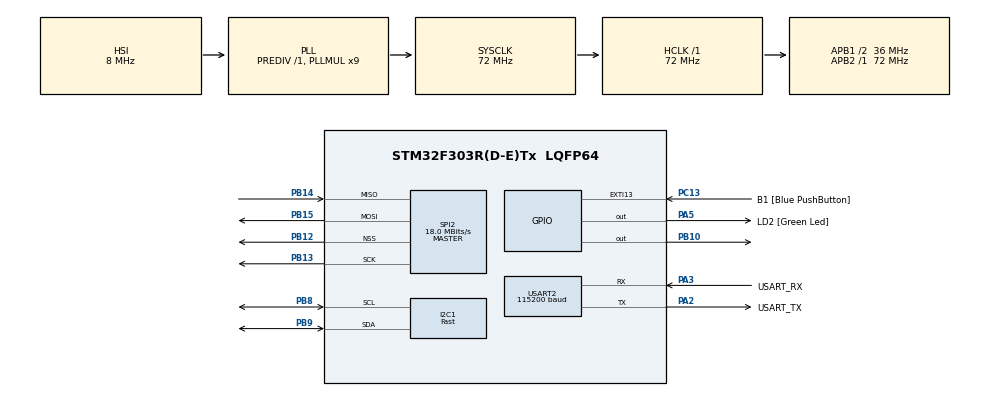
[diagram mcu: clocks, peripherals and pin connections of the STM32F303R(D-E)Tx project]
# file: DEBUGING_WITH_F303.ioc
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Dma.Request0=USART2_RX
Dma.Request1=USART2_TX
Dma.USART2_RX.0.Direction=DMA_PERIPH_TO_MEMORY
Dma.USART2_RX.0.Instance=DMA1_Channel6
Dma.USART2_RX.0.MemDataAlignment=DMA_MDATAALIGN_BYTE
Dma.USART2_RX.0.MemInc=DMA_MINC_ENABLE
Dma.USART2_RX.0.Mode=DMA_NORMAL
Dma.USART2_RX.0.PeriphDataAlignment=DMA_PDATAALIGN_BYTE
Dma.USART2_RX.0.PeriphInc=DMA_PINC_DISABLE
Dma.USART2_RX.0.Priority=DMA_PRIORITY_LOW
Dma.USART2_TX.1.Direction=DMA_MEMORY_TO_PERIPH
Dma.USART2_TX.1.Instance=DMA1_Channel7
Dma.USART2_TX.1.MemDataAlignment=DMA_MDATAALIGN_BYTE
Dma.USART2_TX.1.MemInc=DMA_MINC_ENABLE
Dma.USART2_TX.1.Mode=DMA_NORMAL
Dma.USART2_TX.1.PeriphDataAlignment=DMA_PDATAALIGN_BYTE
Dma.USART2_TX.1.PeriphInc=DMA_PINC_DISABLE
Dma.USART2_TX.1.Priority=DMA_PRIORITY_MEDIUM
I2C1.I2C_Speed_Mode=I2C_Fast
I2C1.Timing=0x0010020A
Mcu.Family=STM32F3
Mcu.Name=STM32F303R(D-E)Tx
Mcu.Package=LQFP64
NVIC.DMA1_Channel6_IRQn=true\:0\:0\:false\:false\:true\:false\:true\:true
NVIC.DMA1_Channel7_IRQn=true\:0\:0\:false\:false\:true\:false\:true\:true
NVIC.PriorityGroup=NVIC_PRIORITYGROUP_0
NVIC.USART2_IRQn=true\:0\:0\:false\:false\:true\:true\:true\:true
PA13.GPIO_Label=TMS
PA13.Mode=Serial_Wire
PA13.Signal=SYS_JTMS-SWDIO
PA14.GPIO_Label=TCK
PA14.Mode=Serial_Wire
PA14.Signal=SYS_JTCK-SWCLK
PA2.GPIO_Label=USART_TX
PA2.GPIO_Mode=GPIO_MODE_AF_PP
PA2.GPIO_PuPd=GPIO_NOPULL
PA2.GPIO_Speed=GPIO_SPEED_FREQ_LOW
PA2.Mode=Asynchronous
PA2.Signal=USART2_TX
PA3.GPIO_Label=USART_RX
PA3.GPIO_Mode=GPIO_MODE_AF_PP
PA3.GPIO_PuPd=GPIO_NOPULL
PA3.GPIO_Speed=GPIO_SPEED_FREQ_LOW
PA3.Mode=Asynchronous
PA3.Signal=USART2_RX
PA5.GPIO_Label=LD2 [Green Led]
PA5.GPIO_Mode=GPIO_MODE_OUTPUT_PP
PA5.GPIO_PuPd=GPIO_NOPULL
PA5.GPIO_Speed=GPIO_SPEED_FREQ_LOW
PA5.Signal=GPIO_Output
PB10.Signal=GPIO_Output
PB12.Mode=NSS_Signal_Hard_Output
PB12.Signal=SPI2_NSS
PB13.Mode=Full_Duplex_Master
PB13.Signal=SPI2_SCK
PB14.Mode=Full_Duplex_Master
PB14.Signal=SPI2_MISO
PB15.Mode=Full_Duplex_Master
PB15.Signal=SPI2_MOSI
PB3.Signal=SYS_JTDO-TRACESWO
PB8.Mode=I2C
PB8.Signal=I2C1_SCL
PB9.Mode=I2C
PB9.Signal=I2C1_SDA
PC13.GPIO_Label=B1 [Blue PushButton]
PC13.GPIO_ModeDefaultEXTI=GPIO_MODE_IT_FALLING
PC13.Signal=GPXTI13
PC14-OSC32_IN.Mode=LSE-External-Oscillator
PC14-OSC32_IN.Signal=RCC_OSC32_IN
PC15-OSC32_OUT.Mode=LSE-External-Oscillator
PC15-OSC32_OUT.Signal=RCC_OSC32_OUT
PF0-OSC_IN.Mode=HSE-External-Clock-Source
PF0-OSC_IN.Signal=RCC_OSC_IN
PF1-OSC_OUT.Signal=RCC_OSC_OUT
ProjectManager.HeapSize=0x200
ProjectManager.StackSize=0x400
ProjectManager.TargetToolchain=CMake
RCC.AHBFreq_Value=72000000
RCC.APB1CLKDivider=RCC_HCLK_DIV2
RCC.APB1Freq_Value=36000000
RCC.APB1TimFreq_Value=72000000
RCC.APB2Freq_Value=72000000
RCC.APB2TimFreq_Value=72000000
RCC.CortexFreq_Value=72000000
RCC.HCLKFreq_Value=72000000
RCC.HSE_VALUE=8000000
RCC.HSI_VALUE=8000000
RCC.PLLM=8
RCC.PLLMUL=RCC_PLL_MUL9
RCC.PLLN=336
RCC.PLLP=RCC_PLLP_DIV4
RCC.PLLQ=7
RCC.RCC_PLLsource_Clock_Source_FROM_HSE=RCC_HSE_PREDIV_DIV2
RCC.SYSCLKFreq_VALUE=72000000
RCC.SYSCLKSourceVirtual=RCC_SYSCLKSOURCE_PLLCLK
RCC.USBFreq_Value=72000000
SPI2.CalculateBaudRate=18.0 MBits/s
SPI2.Direction=SPI_DIRECTION_2LINES
SPI2.Mode=SPI_MODE_MASTER
SPI2.VirtualNSS=VM_NSSHARD
SPI2.VirtualType=VM_MASTER
USART2.BaudRate=115200
USART2.VirtualMode-Asynchronous=VM_ASYNC
VP_CRC_VS_CRC.Mode=CRC_Activate
board=NUCLEO-F303RE

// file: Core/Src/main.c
/* USER CODE BEGIN Header */
/**
 ******************************************************************************
 * @file           : main.c
 * @brief          : Main program body
 ******************************************************************************
 * @attention
 *
 * Copyright (c) 2024 STMicroelectronics.
 * All rights reserved.
 *
 * This software is licensed under terms that can be found in the LICENSE file
 * in the root directory of this software component.
 * If no LICENSE file comes with this software, it is provided AS-IS.
 *
 ******************************************************************************
 */
/* USER CODE END Header */
#include "main.h"
#include "crc.h"
#include "dma.h"
#include "i2c.h"
#include "spi.h"
#include "usart.h"
#include "gpio.h"

/* USER CODE BEGIN Includes */
#include "cli.h"
#include "aht20.h"
/* USER CODE END Includes */

/* USER CODE BEGIN PV */

float temp = 0;
float humidity = 0;

/* USER CODE END PV */

void SystemClock_Config(void);

int main(void)
{

  /* USER CODE BEGIN 1 */

#ifndef USE_PRECALCULATED_HASH

    populate_cmd_hash();

#endif
  /* USER CODE END 1 */

  /* MCU Configuration--------------------------------------------------------*/

  /* Reset of all peripherals, Initializes the Flash interface and the Systick. */
  HAL_Init();

  /* Configure the system clock */
  SystemClock_Config();

  /* Initialize all configured peripherals */
  MX_GPIO_Init();
  MX_DMA_Init();
  MX_USART2_UART_Init();
  MX_I2C1_Init();
  MX_CRC_Init();
  MX_SPI2_Init();
  /* USER CODE BEGIN 2 */

    start_rx();

    AHT20_Init();
    HAL_Delay(150);
    AHT20_StartMeasurement();
    HAL_Delay(150);
    AHT20_ParseData(&temp,&humidity);

  /* USER CODE END 2 */

  /* Infinite loop */
    while (1)
    {

    }
}

void SystemClock_Config(void)
{
  RCC_OscInitTypeDef RCC_OscInitStruct = {0};
  RCC_ClkInitTypeDef RCC_ClkInitStruct = {0};
  RCC_PeriphCLKInitTypeDef PeriphClkInit = {0};

  /** Initializes the RCC Oscillators according to the specified parameters
  * in the RCC_OscInitTypeDef structure.
  */
  RCC_OscInitStruct.OscillatorType = RCC_OSCILLATORTYPE_HSI;
  RCC_OscInitStruct.HSIState = RCC_HSI_ON;
  RCC_OscInitStruct.HSICalibrationValue = RCC_HSICALIBRATION_DEFAULT;
  RCC_OscInitStruct.PLL.PLLState = RCC_PLL_ON;
  RCC_OscInitStruct.PLL.PLLSource = RCC_PLLSOURCE_HSI;
  RCC_OscInitStruct.PLL.PLLMUL = RCC_PLL_MUL9;
  RCC_OscInitStruct.PLL.PREDIV = RCC_PREDIV_DIV1;
  if (HAL_RCC_OscConfig(&RCC_OscInitStruct) != HAL_OK)
  {
    Error_Handler();
  }

  /** Initializes the CPU, AHB and APB buses clocks
  */
  RCC_ClkInitStruct.ClockType = RCC_CLOCKTYPE_HCLK|RCC_CLOCKTYPE_SYSCLK
                              |RCC_CLOCKTYPE_PCLK1|RCC_CLOCKTYPE_PCLK2;
  RCC_ClkInitStruct.SYSCLKSource = RCC_SYSCLKSOURCE_PLLCLK;
  RCC_ClkInitStruct.AHBCLKDivider = RCC_SYSCLK_DIV1;
  RCC_ClkInitStruct.APB1CLKDivider = RCC_HCLK_DIV2;
  RCC_ClkInitStruct.APB2CLKDivider = RCC_HCLK_DIV1;

  if (HAL_RCC_ClockConfig(&RCC_ClkInitStruct, FLASH_LATENCY_2) != HAL_OK)
  {
    Error_Handler();
  }
  PeriphClkInit.PeriphClockSelection = RCC_PERIPHCLK_USART2|RCC_PERIPHCLK_I2C1;
  PeriphClkInit.Usart2ClockSelection = RCC_USART2CLKSOURCE_PCLK1;
  PeriphClkInit.I2c1ClockSelection = RCC_I2C1CLKSOURCE_HSI;
  if (HAL_RCCEx_PeriphCLKConfig(&PeriphClkInit) != HAL_OK)
  {
    Error_Handler();
  }
}

/* USER CODE BEGIN 4 */

void HAL_UART_RxCpltCallback(UART_HandleTypeDef *huart)
{
    // Check if the IDLE flag is set
    if (huart->Instance == USART2)
    {
        process_command(); // Your callback function to handle the idle state
    }
}

/* USER CODE END 4 */

void Error_Handler(void)
{
    __disable_irq();
    while (1)
    {
    }
}
